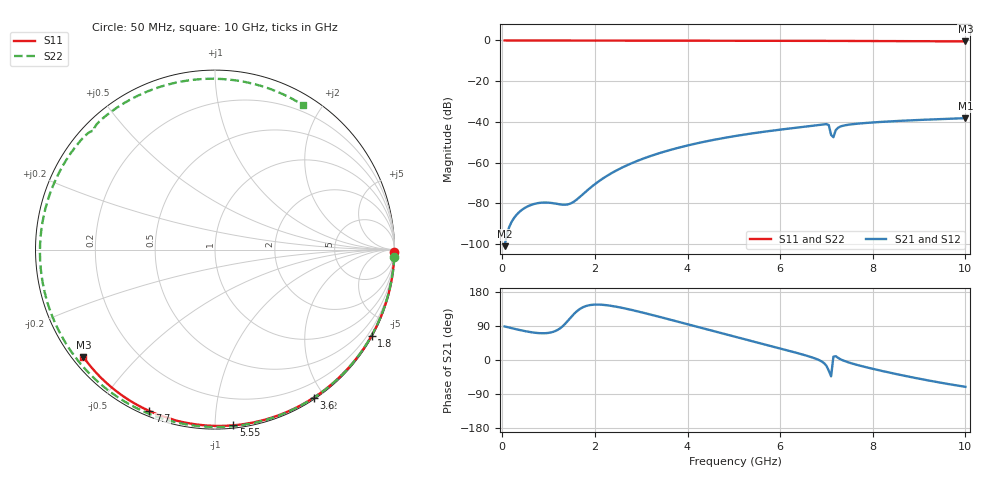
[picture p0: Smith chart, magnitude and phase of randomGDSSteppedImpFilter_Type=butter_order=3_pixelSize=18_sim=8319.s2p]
! freq	dB(S11)	phase(S11)	dB(S12)	phase(S12)
!  dB(S21)	phase(S21)	dB(S22)	phase(S22)
!S-par simulation data
#  GHz  S  DB  R 50
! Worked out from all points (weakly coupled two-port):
!   200 points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, 50 MHz to 10 GHz, reference 50 ohm
!   highest |S21| = -38.18 dB at 10 GHz (marker M1); lowest = -101.1 dB at 50 MHz (marker M2)
!   lowest |S11| = -0.5 dB at 10 GHz (marker M3), VSWR 36.52, Z = 1.54 - j17.8 ohm
!   |S11| at or under -10 dB: nowhere
!   |S22| runs from -0.5 to 0.0 dB; largest |S21 - S12| = 0
!   S11 on the Smith chart (normalised r, x): 50 MHz: open; 1.8 GHz: 0.03, -3.89; 3.6 GHz: 0.02, -1.87; 5.55 GHz: 0.02, -1.11; 7.7 GHz: 0.02, -0.67; 10 GHz: 0.03, -0.36
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0.05  -0.00 -0.8  -101.09 88.5  -101.09 88.5  -0.00 -2.3
0.7  -0.01 -11.3  -80.28 72.0  -80.28 72.0  -0.04 -31.3
1.45  -0.03 -23.3  -80.35 108.1  -80.35 108.1  -0.08 -62.8
1.75  -0.04 -28.1  -75.39 139.7  -75.39 139.7  -0.09 -74.5
1.8  -0.04 -28.9  -74.38 142.1  -74.38 142.1  -0.09 -76.4
2.15  -0.04 -34.3  -68.17 145.8  -68.17 145.8  -0.10 -89.2
2.5  -0.05 -39.8  -63.46 139.7  -63.46 139.7  -0.11 -101.4
3.4  -0.07 -53.4  -55.32 113.7  -55.32 113.7  -0.14 -129.7
3.6  -0.08 -56.4  -53.97 107.3  -53.97 107.3  -0.15 -135.5
4.3  -0.09 -66.6  -50.07 84.7  -50.07 84.7  -0.17 -154.7
5.05  -0.12 -77.2  -46.89 60.6  -46.89 60.6  -0.21 -174.1
5.55  -0.14 -84.0  -45.17 44.7  -45.17 44.7  -0.23 173.5
6.7  -0.19 -99.4  -41.95 6.4  -41.95 6.4  -0.30 145.2
7.05  -0.21 -104.0  -41.61 -28.2  -41.61 -28.2  -0.41 136.2
7.1  -0.23 -104.6  -46.42 -43.2  -46.42 -43.2  -0.49 135.5
7.15  -0.23 -105.2  -47.55 8.9  -47.55 8.9  -0.41 134.8
7.2  -0.23 -105.8  -44.11 10.1  -44.11 10.1  -0.35 133.5
7.25  -0.23 -106.4  -42.90 5.8  -42.90 5.8  -0.34 132.1
7.7  -0.26 -112.2  -40.83 -14.2  -40.83 -14.2  -0.35 120.5
8.35  -0.31 -120.3  -39.80 -33.0  -39.80 -33.0  -0.39 103.7
9.2  -0.39 -130.9  -38.88 -54.0  -38.88 -54.0  -0.45 80.9
10  -0.48 -140.7  -38.18 -70.8  -38.18 -70.8  -0.51 58.8
